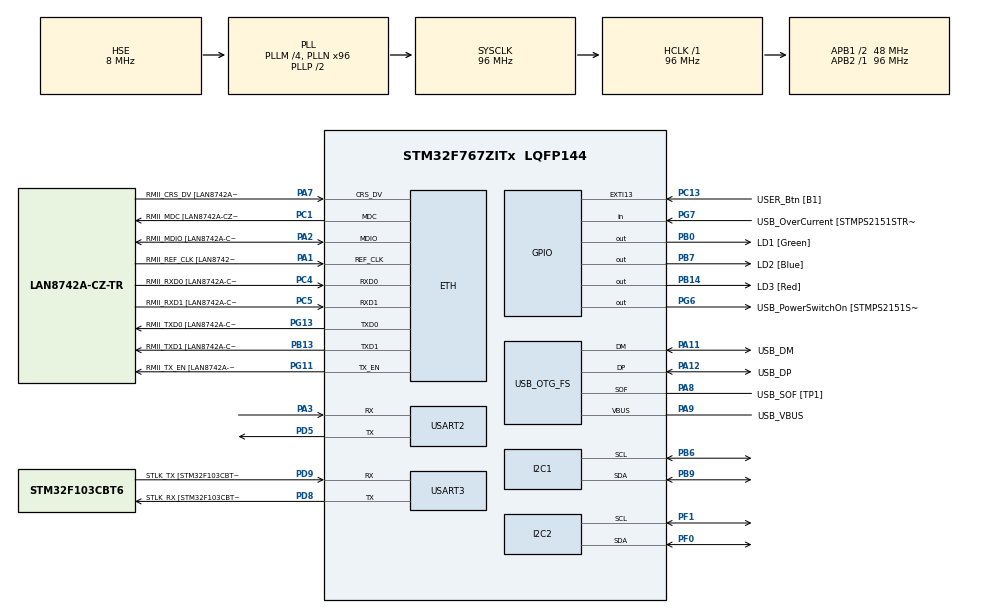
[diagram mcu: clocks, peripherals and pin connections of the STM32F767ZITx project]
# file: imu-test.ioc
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Dma.I2C2_RX.0.Direction=DMA_PERIPH_TO_MEMORY
Dma.I2C2_RX.0.FIFOMode=DMA_FIFOMODE_DISABLE
Dma.I2C2_RX.0.Instance=DMA1_Stream2
Dma.I2C2_RX.0.MemDataAlignment=DMA_MDATAALIGN_BYTE
Dma.I2C2_RX.0.MemInc=DMA_MINC_ENABLE
Dma.I2C2_RX.0.Mode=DMA_NORMAL
Dma.I2C2_RX.0.PeriphDataAlignment=DMA_PDATAALIGN_BYTE
Dma.I2C2_RX.0.PeriphInc=DMA_PINC_DISABLE
Dma.I2C2_RX.0.Priority=DMA_PRIORITY_LOW
Dma.I2C2_TX.1.Direction=DMA_MEMORY_TO_PERIPH
Dma.I2C2_TX.1.FIFOMode=DMA_FIFOMODE_DISABLE
Dma.I2C2_TX.1.Instance=DMA1_Stream4
Dma.I2C2_TX.1.MemDataAlignment=DMA_MDATAALIGN_BYTE
Dma.I2C2_TX.1.MemInc=DMA_MINC_ENABLE
Dma.I2C2_TX.1.Mode=DMA_NORMAL
Dma.I2C2_TX.1.PeriphDataAlignment=DMA_PDATAALIGN_BYTE
Dma.I2C2_TX.1.PeriphInc=DMA_PINC_DISABLE
Dma.I2C2_TX.1.Priority=DMA_PRIORITY_LOW
Dma.Request0=I2C2_RX
Dma.Request1=I2C2_TX
ETH.MediaInterface=HAL_ETH_RMII_MODE
ETH.PHY_Name=LAN8742A_PHY_ADDRESS
ETH.PHY_Value=0
ETH.PhyAddress=0
I2C1.Timing=0x20303E5D
I2C2.Timing=0x20303E5D
Mcu.Family=STM32F7
Mcu.Name=STM32F767ZITx
Mcu.Package=LQFP144
NVIC.DMA1_Stream2_IRQn=true\:0\:0\:false\:false\:true\:false\:true\:true
NVIC.DMA1_Stream4_IRQn=true\:0\:0\:false\:false\:true\:false\:true\:true
NVIC.PriorityGroup=NVIC_PRIORITYGROUP_4
PA1.GPIO_Label=RMII_REF_CLK [LAN8742A-CZ-TR_REFCLK0]
PA1.Mode=RMII
PA1.Signal=ETH_REF_CLK
PA10.GPIO_Label=USB_ID
PA10.Signal=USB_OTG_FS_ID
PA11.GPIO_Label=USB_DM
PA11.Mode=Device_Only
PA11.Signal=USB_OTG_FS_DM
PA12.GPIO_Label=USB_DP
PA12.Mode=Device_Only
PA12.Signal=USB_OTG_FS_DP
PA13.GPIO_Label=TMS
PA13.Mode=Serial_Wire
PA13.Signal=SYS_JTMS-SWDIO
PA14.GPIO_Label=TCK
PA14.Mode=Serial_Wire
PA14.Signal=SYS_JTCK-SWCLK
PA2.GPIO_Label=RMII_MDIO [LAN8742A-CZ-TR_MDIO]
PA2.Mode=RMII
PA2.Signal=ETH_MDIO
PA3.Mode=Asynchronous
PA3.Signal=USART2_RX
PA7.GPIO_Label=RMII_CRS_DV [LAN8742A-CZ-TR_CRS_DV]
PA7.Mode=RMII
PA7.Signal=ETH_CRS_DV
PA8.GPIO_Label=USB_SOF [TP1]
PA8.Mode=Activate_SOF_FS
PA8.Signal=USB_OTG_FS_SOF
PA9.GPIO_Label=USB_VBUS
PA9.Mode=Activate_VBUS
PA9.Signal=USB_OTG_FS_VBUS
PB0.GPIO_Label=LD1 [Green]
PB0.Signal=GPIO_Output
PB13.GPIO_Label=RMII_TXD1 [LAN8742A-CZ-TR_TXD1]
PB13.Mode=RMII
PB13.Signal=ETH_TXD1
PB14.GPIO_Label=LD3 [Red]
PB14.Signal=GPIO_Output
PB3.GPIO_Label=SWO
PB3.Signal=SYS_JTDO-SWO
PB6.GPIO_Pu=GPIO_PULLUP
PB6.Mode=I2C
PB6.Signal=I2C1_SCL
PB7.GPIO_Label=LD2 [Blue]
PB7.Signal=GPIO_Output
PB9.GPIO_Pu=GPIO_PULLUP
PB9.Mode=I2C
PB9.Signal=I2C1_SDA
PC1.GPIO_Label=RMII_MDC [LAN8742A-CZ-TR_MDC]
PC1.Mode=RMII
PC1.Signal=ETH_MDC
PC13.GPIO_Label=USER_Btn [B1]
PC13.Signal=GPXTI13
PC14/OSC32_IN.Mode=LSE-External-Oscillator
PC14/OSC32_IN.Signal=RCC_OSC32_IN
PC15/OSC32_OUT.Mode=LSE-External-Oscillator
PC15/OSC32_OUT.Signal=RCC_OSC32_OUT
PC4.GPIO_Label=RMII_RXD0 [LAN8742A-CZ-TR_RXD0]
PC4.Mode=RMII
PC4.Signal=ETH_RXD0
PC5.GPIO_Label=RMII_RXD1 [LAN8742A-CZ-TR_RXD1]
PC5.Mode=RMII
PC5.Signal=ETH_RXD1
PD5.Mode=Asynchronous
PD5.Signal=USART2_TX
PD8.GPIO_Label=STLK_RX [STM32F103CBT6_PA3]
PD8.Mode=Asynchronous
PD8.Signal=USART3_TX
PD9.GPIO_Label=STLK_TX [STM32F103CBT6_PA2]
PD9.Mode=Asynchronous
PD9.Signal=USART3_RX
PF0.Mode=I2C
PF0.Signal=I2C2_SDA
PF1.Mode=I2C
PF1.Signal=I2C2_SCL
PG11.GPIO_Label=RMII_TX_EN [LAN8742A-CZ-TR_TXEN]
PG11.Mode=RMII
PG11.Signal=ETH_TX_EN
PG13.GPIO_Label=RMII_TXD0 [LAN8742A-CZ-TR_TXD0]
PG13.Mode=RMII
PG13.Signal=ETH_TXD0
PG6.GPIO_Label=USB_PowerSwitchOn [STMPS2151STR_EN]
PG6.Signal=GPIO_Output
PG7.GPIO_Label=USB_OverCurrent [STMPS2151STR_FAULT]
PG7.Signal=GPIO_Input
PH0/OSC_IN.GPIO_Label=MCO [STM32F103CBT6_PA8]
PH0/OSC_IN.Mode=HSE-External-Clock-Source
PH0/OSC_IN.Signal=RCC_OSC_IN
PH1/OSC_OUT.Mode=HSE-External-Clock-Source
PH1/OSC_OUT.Signal=RCC_OSC_OUT
ProjectManager.HeapSize=0x200
ProjectManager.StackSize=0x400
ProjectManager.TargetToolchain=STM32CubeIDE
RCC.48MHZClocksFreq_Value=24000000
RCC.AHBFreq_Value=96000000
RCC.APB1CLKDivider=RCC_HCLK_DIV2
RCC.APB1Freq_Value=48000000
RCC.APB1TimFreq_Value=96000000
RCC.APB2Freq_Value=96000000
RCC.APB2TimFreq_Value=96000000
RCC.CortexFreq_Value=96000000
RCC.HCLKFreq_Value=96000000
RCC.HSE_VALUE=8000000
RCC.HSI_VALUE=16000000
RCC.PLLM=4
RCC.PLLMUL=RCC_PLL_MUL9
RCC.PLLN=96
RCC.PLLQ=4
RCC.PRESCALERUSB=RCC_USBCLKSOURCE_PLL_DIV1_5
RCC.SYSCLKFreq_VALUE=96000000
RCC.SYSCLKSource=RCC_SYSCLKSOURCE_PLLCLK
RCC.SYSCLKSourceVirtual=RCC_SYSCLKSOURCE_PLLCLK
RCC.USBFreq_Value=48000000
RCC.VCOOutputFreq_Value=192000000
USART2.VirtualMode-Asynchronous=VM_ASYNC
USART3.VirtualMode-Asynchronous=VM_ASYNC
USB_OTG_FS.VirtualMode=Device_Only
board=NUCLEO-F767ZI

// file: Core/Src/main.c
/* USER CODE BEGIN Header */
/**
  ******************************************************************************
  * @file           : main.c
  * @brief          : Main program body
  ******************************************************************************
  * @attention
  *
  * Copyright (c) 2025 STMicroelectronics.
  * All rights reserved.
  *
  * This software is licensed under terms that can be found in the LICENSE file
  * in the root directory of this software component.
  * If no LICENSE file comes with this software, it is provided AS-IS.
  *
  ******************************************************************************
  */
/* USER CODE END Header */
#include "main.h"
#include "string.h"

/* USER CODE BEGIN Includes */
#include "accel.h"
#include "i2c-lcd.h"
/* USER CODE END Includes */

#if defined ( __ICCARM__ ) /*!< IAR Compiler */
#pragma location=0x2007c000
ETH_DMADescTypeDef  DMARxDscrTab[ETH_RX_DESC_CNT]; /* Ethernet Rx DMA Descriptors */
#pragma location=0x2007c0a0
ETH_DMADescTypeDef  DMATxDscrTab[ETH_TX_DESC_CNT]; /* Ethernet Tx DMA Descriptors */

#elif defined ( __CC_ARM )  /* MDK ARM Compiler */

__attribute__((at(0x2007c000))) ETH_DMADescTypeDef  DMARxDscrTab[ETH_RX_DESC_CNT]; /* Ethernet Rx DMA Descriptors */
__attribute__((at(0x2007c0a0))) ETH_DMADescTypeDef  DMATxDscrTab[ETH_TX_DESC_CNT]; /* Ethernet Tx DMA Descriptors */

#elif defined ( __GNUC__ ) /* GNU Compiler */

ETH_DMADescTypeDef DMARxDscrTab[ETH_RX_DESC_CNT] __attribute__((section(".RxDecripSection"))); /* Ethernet Rx DMA Descriptors */
ETH_DMADescTypeDef DMATxDscrTab[ETH_TX_DESC_CNT] __attribute__((section(".TxDecripSection")));   /* Ethernet Tx DMA Descriptors */
#endif

ETH_TxPacketConfig TxConfig;

ETH_HandleTypeDef heth;

I2C_HandleTypeDef hi2c1;
I2C_HandleTypeDef hi2c2;
DMA_HandleTypeDef hdma_i2c2_rx;
DMA_HandleTypeDef hdma_i2c2_tx;

UART_HandleTypeDef huart2;
UART_HandleTypeDef huart3;

PCD_HandleTypeDef hpcd_USB_OTG_FS;

/* USER CODE BEGIN PV */
uint8_t		imu_readings[IMU_NUMBER_OF_BYTES];
int16_t 	accel_data[3];
float		acc_x, acc_y, acc_z;
float		acc_x_abs, acc_y_abs, acc_z_abs;
/* USER CODE END PV */

void SystemClock_Config(void);
static void MX_GPIO_Init(void);
static void MX_DMA_Init(void);
static void MX_ETH_Init(void);
static void MX_I2C2_Init(void);
static void MX_USART3_UART_Init(void);
static void MX_USB_OTG_FS_PCD_Init(void);
static void MX_USART2_UART_Init(void);
static void MX_I2C1_Init(void);

int main(void)
{

  /* MCU Configuration--------------------------------------------------------*/

  /* Reset of all peripherals, Initializes the Flash interface and the Systick. */
  HAL_Init();

  /* Configure the system clock */
  SystemClock_Config();

  /* Initialize all configured peripherals */
  MX_GPIO_Init();
  MX_DMA_Init();
  MX_ETH_Init();
  MX_I2C2_Init();
  MX_USART3_UART_Init();
  MX_USB_OTG_FS_PCD_Init();
  MX_USART2_UART_Init();
  MX_I2C1_Init();
  /* USER CODE BEGIN 2 */
  lcd_init();
  lcd_send_string("X=    Y=    Z=");
  BNO055_Init_I2C(&hi2c2);
  /* USER CODE END 2 */

  /* Infinite loop */
  while (1)
  {

    /* USER CODE BEGIN 3 */
	  HAL_Delay(300);
	  GetAccelData(&hi2c2, (uint8_t*)imu_readings);
	  accel_data[0] = (((int16_t)((uint8_t *)(imu_readings))[1] << 8) | ((uint8_t *)(imu_readings))[0]);      // Turn the MSB and LSB into a signed 16-bit value
	  accel_data[1] = (((int16_t)((uint8_t *)(imu_readings))[3] << 8) | ((uint8_t *)(imu_readings))[2]);
	  accel_data[2] = (((int16_t)((uint8_t *)(imu_readings))[5] << 8) | ((uint8_t *)(imu_readings))[4]);

	  // Get acceleration data in m/s2
	  acc_x = ((float)(accel_data[0]))/100.0f;
	  acc_y = ((float)(accel_data[1]))/100.0f;
	  acc_z = ((float)(accel_data[2]))/100.0f;

	  // Get acceleration magnitude (take absolute value)
	  acc_x_abs = (acc_x < 0) ? -acc_x : acc_x;
	  acc_y_abs = (acc_y < 0) ? -acc_y : acc_y;
	  acc_z_abs = (acc_z < 0) ? -acc_z : acc_z;

	  // Print acc_x
	  lcd_put_cur(1, 0);
	  lcd_send_string((acc_x < 0) ? "-" : "+");
	  lcd_send_data((int)(acc_x_abs) % 10 + 48); // Ones
	  lcd_send_string(".");
	  lcd_send_data(((int)(acc_x_abs * 10) % 10) + 48); // Tenths
	  lcd_send_data(((int)(acc_x_abs * 100) % 10) + 48); // Hundredths

	  // Print acc_y
	  lcd_put_cur(1, 6);
	  lcd_send_string((acc_y < 0) ? "-" : "+");
	  lcd_send_data((int)(acc_y_abs) % 10 + 48); // Ones
	  lcd_send_string(".");
	  lcd_send_data(((int)(acc_y_abs * 10) % 10) + 48); // Tenths
	  lcd_send_data(((int)(acc_y_abs * 100) % 10) + 48); // Hundredths

	  // Print acc_z
	  lcd_put_cur(1, 12);
	  lcd_send_string((acc_z < 0) ? "-" : "+");
	  lcd_send_data((int)(acc_z_abs) % 10 + 48); // Ones
	  lcd_send_string(".");
	  lcd_send_data(((int)(acc_z_abs * 10) % 10) + 48); // Tenths
	  lcd_send_data(((int)(acc_z_abs * 100) % 10) + 48); // Hundredths
  }
  /* USER CODE END 3 */
}

void SystemClock_Config(void)
{
  RCC_OscInitTypeDef RCC_OscInitStruct = {0};
  RCC_ClkInitTypeDef RCC_ClkInitStruct = {0};

  /** Configure LSE Drive Capability
  */
  HAL_PWR_EnableBkUpAccess();

  /** Configure the main internal regulator output voltage
  */
  __HAL_RCC_PWR_CLK_ENABLE();
  __HAL_PWR_VOLTAGESCALING_CONFIG(PWR_REGULATOR_VOLTAGE_SCALE3);

  /** Initializes the RCC Oscillators according to the specified parameters
  * in the RCC_OscInitTypeDef structure.
  */
  RCC_OscInitStruct.OscillatorType = RCC_OSCILLATORTYPE_HSE;
  RCC_OscInitStruct.HSEState = RCC_HSE_BYPASS;
  RCC_OscInitStruct.PLL.PLLState = RCC_PLL_ON;
  RCC_OscInitStruct.PLL.PLLSource = RCC_PLLSOURCE_HSE;
  RCC_OscInitStruct.PLL.PLLM = 4;
  RCC_OscInitStruct.PLL.PLLN = 96;
  RCC_OscInitStruct.PLL.PLLP = RCC_PLLP_DIV2;
  RCC_OscInitStruct.PLL.PLLQ = 4;
  RCC_OscInitStruct.PLL.PLLR = 2;
  if (HAL_RCC_OscConfig(&RCC_OscInitStruct) != HAL_OK)
  {
    Error_Handler();
  }

  /** Activate the Over-Drive mode
  */
  if (HAL_PWREx_EnableOverDrive() != HAL_OK)
  {
    Error_Handler();
  }

  /** Initializes the CPU, AHB and APB buses clocks
  */
  RCC_ClkInitStruct.ClockType = RCC_CLOCKTYPE_HCLK|RCC_CLOCKTYPE_SYSCLK
                              |RCC_CLOCKTYPE_PCLK1|RCC_CLOCKTYPE_PCLK2;
  RCC_ClkInitStruct.SYSCLKSource = RCC_SYSCLKSOURCE_PLLCLK;
  RCC_ClkInitStruct.AHBCLKDivider = RCC_SYSCLK_DIV1;
  RCC_ClkInitStruct.APB1CLKDivider = RCC_HCLK_DIV2;
  RCC_ClkInitStruct.APB2CLKDivider = RCC_HCLK_DIV1;

  if (HAL_RCC_ClockConfig(&RCC_ClkInitStruct, FLASH_LATENCY_3) != HAL_OK)
  {
    Error_Handler();
  }
}

static void MX_ETH_Init(void)
{

   static uint8_t MACAddr[6];

  heth.Instance = ETH;
  MACAddr[0] = 0x00;
  MACAddr[1] = 0x80;
  MACAddr[2] = 0xE1;
  MACAddr[3] = 0x00;
  MACAddr[4] = 0x00;
  MACAddr[5] = 0x00;
  heth.Init.MACAddr = &MACAddr[0];
  heth.Init.MediaInterface = HAL_ETH_RMII_MODE;
  heth.Init.TxDesc = DMATxDscrTab;
  heth.Init.RxDesc = DMARxDscrTab;
  heth.Init.RxBuffLen = 1524;

  if (HAL_ETH_Init(&heth) != HAL_OK)
  {
    Error_Handler();
  }

  memset(&TxConfig, 0 , sizeof(ETH_TxPacketConfig));
  TxConfig.Attributes = ETH_TX_PACKETS_FEATURES_CSUM | ETH_TX_PACKETS_FEATURES_CRCPAD;
  TxConfig.ChecksumCtrl = ETH_CHECKSUM_IPHDR_PAYLOAD_INSERT_PHDR_CALC;
  TxConfig.CRCPadCtrl = ETH_CRC_PAD_INSERT;

}

static void MX_I2C1_Init(void)
{

  hi2c1.Instance = I2C1;
  hi2c1.Init.Timing = 0x20303E5D;
  hi2c1.Init.OwnAddress1 = 0;
  hi2c1.Init.AddressingMode = I2C_ADDRESSINGMODE_7BIT;
  hi2c1.Init.DualAddressMode = I2C_DUALADDRESS_DISABLE;
  hi2c1.Init.OwnAddress2 = 0;
  hi2c1.Init.OwnAddress2Masks = I2C_OA2_NOMASK;
  hi2c1.Init.GeneralCallMode = I2C_GENERALCALL_DISABLE;
  hi2c1.Init.NoStretchMode = I2C_NOSTRETCH_DISABLE;
  if (HAL_I2C_Init(&hi2c1) != HAL_OK)
  {
    Error_Handler();
  }

  /** Configure Analogue filter
  */
  if (HAL_I2CEx_ConfigAnalogFilter(&hi2c1, I2C_ANALOGFILTER_ENABLE) != HAL_OK)
  {
    Error_Handler();
  }

  /** Configure Digital filter
  */
  if (HAL_I2CEx_ConfigDigitalFilter(&hi2c1, 0) != HAL_OK)
  {
    Error_Handler();
  }

}

static void MX_I2C2_Init(void)
{

  hi2c2.Instance = I2C2;
  hi2c2.Init.Timing = 0x20303E5D;
  hi2c2.Init.OwnAddress1 = 0;
  hi2c2.Init.AddressingMode = I2C_ADDRESSINGMODE_7BIT;
  hi2c2.Init.DualAddressMode = I2C_DUALADDRESS_DISABLE;
  hi2c2.Init.OwnAddress2 = 0;
  hi2c2.Init.OwnAddress2Masks = I2C_OA2_NOMASK;
  hi2c2.Init.GeneralCallMode = I2C_GENERALCALL_DISABLE;
  hi2c2.Init.NoStretchMode = I2C_NOSTRETCH_DISABLE;
  if (HAL_I2C_Init(&hi2c2) != HAL_OK)
  {
    Error_Handler();
  }

  /** Configure Analogue filter
  */
  if (HAL_I2CEx_ConfigAnalogFilter(&hi2c2, I2C_ANALOGFILTER_ENABLE) != HAL_OK)
  {
    Error_Handler();
  }

  /** Configure Digital filter
  */
  if (HAL_I2CEx_ConfigDigitalFilter(&hi2c2, 0) != HAL_OK)
  {
    Error_Handler();
  }

}

static void MX_USART2_UART_Init(void)
{

  huart2.Instance = USART2;
  huart2.Init.BaudRate = 115200;
  huart2.Init.WordLength = UART_WORDLENGTH_8B;
  huart2.Init.StopBits = UART_STOPBITS_1;
  huart2.Init.Parity = UART_PARITY_NONE;
  huart2.Init.Mode = UART_MODE_TX_RX;
  huart2.Init.HwFlowCtl = UART_HWCONTROL_NONE;
  huart2.Init.OverSampling = UART_OVERSAMPLING_16;
  huart2.Init.OneBitSampling = UART_ONE_BIT_SAMPLE_DISABLE;
  huart2.AdvancedInit.AdvFeatureInit = UART_ADVFEATURE_NO_INIT;
  if (HAL_UART_Init(&huart2) != HAL_OK)
  {
    Error_Handler();
  }

}

static void MX_USART3_UART_Init(void)
{

  huart3.Instance = USART3;
  huart3.Init.BaudRate = 115200;
  huart3.Init.WordLength = UART_WORDLENGTH_8B;
  huart3.Init.StopBits = UART_STOPBITS_1;
  huart3.Init.Parity = UART_PARITY_NONE;
  huart3.Init.Mode = UART_MODE_TX_RX;
  huart3.Init.HwFlowCtl = UART_HWCONTROL_NONE;
  huart3.Init.OverSampling = UART_OVERSAMPLING_16;
  huart3.Init.OneBitSampling = UART_ONE_BIT_SAMPLE_DISABLE;
  huart3.AdvancedInit.AdvFeatureInit = UART_ADVFEATURE_NO_INIT;
  if (HAL_UART_Init(&huart3) != HAL_OK)
  {
    Error_Handler();
  }

}

static void MX_USB_OTG_FS_PCD_Init(void)
{

  hpcd_USB_OTG_FS.Instance = USB_OTG_FS;
  hpcd_USB_OTG_FS.Init.dev_endpoints = 6;
  hpcd_USB_OTG_FS.Init.speed = PCD_SPEED_FULL;
  hpcd_USB_OTG_FS.Init.dma_enable = DISABLE;
  hpcd_USB_OTG_FS.Init.phy_itface = PCD_PHY_EMBEDDED;
  hpcd_USB_OTG_FS.Init.Sof_enable = ENABLE;
  hpcd_USB_OTG_FS.Init.low_power_enable = DISABLE;
  hpcd_USB_OTG_FS.Init.lpm_enable = DISABLE;
  hpcd_USB_OTG_FS.Init.vbus_sensing_enable = ENABLE;
  hpcd_USB_OTG_FS.Init.use_dedicated_ep1 = DISABLE;
  if (HAL_PCD_Init(&hpcd_USB_OTG_FS) != HAL_OK)
  {
    Error_Handler();
  }

}

static void MX_DMA_Init(void)
{

  /* DMA controller clock enable */
  __HAL_RCC_DMA1_CLK_ENABLE();

  /* DMA interrupt init */
  /* DMA1_Stream2_IRQn interrupt configuration */
  HAL_NVIC_SetPriority(DMA1_Stream2_IRQn, 0, 0);
  HAL_NVIC_EnableIRQ(DMA1_Stream2_IRQn);
  /* DMA1_Stream4_IRQn interrupt configuration */
  HAL_NVIC_SetPriority(DMA1_Stream4_IRQn, 0, 0);
  HAL_NVIC_EnableIRQ(DMA1_Stream4_IRQn);

}

static void MX_GPIO_Init(void)
{
  GPIO_InitTypeDef GPIO_InitStruct = {0};

  /* GPIO Ports Clock Enable */
  __HAL_RCC_GPIOC_CLK_ENABLE();
  __HAL_RCC_GPIOF_CLK_ENABLE();
  __HAL_RCC_GPIOH_CLK_ENABLE();
  __HAL_RCC_GPIOA_CLK_ENABLE();
  __HAL_RCC_GPIOB_CLK_ENABLE();
  __HAL_RCC_GPIOD_CLK_ENABLE();
  __HAL_RCC_GPIOG_CLK_ENABLE();

  /*Configure GPIO pin Output Level */
  HAL_GPIO_WritePin(GPIOB, LD1_Pin|LD3_Pin|LD2_Pin, GPIO_PIN_RESET);

  /*Configure GPIO pin Output Level */
  HAL_GPIO_WritePin(USB_PowerSwitchOn_GPIO_Port, USB_PowerSwitchOn_Pin, GPIO_PIN_RESET);

  /*Configure GPIO pin : USER_Btn_Pin */
  GPIO_InitStruct.Pin = USER_Btn_Pin;
  GPIO_InitStruct.Mode = GPIO_MODE_IT_RISING;
  GPIO_InitStruct.Pull = GPIO_NOPULL;
  HAL_GPIO_Init(USER_Btn_GPIO_Port, &GPIO_InitStruct);

  /*Configure GPIO pins : LD1_Pin LD3_Pin LD2_Pin */
  GPIO_InitStruct.Pin = LD1_Pin|LD3_Pin|LD2_Pin;
  GPIO_InitStruct.Mode = GPIO_MODE_OUTPUT_PP;
  GPIO_InitStruct.Pull = GPIO_NOPULL;
  GPIO_InitStruct.Speed = GPIO_SPEED_FREQ_LOW;
  HAL_GPIO_Init(GPIOB, &GPIO_InitStruct);

  /*Configure GPIO pin : USB_PowerSwitchOn_Pin */
  GPIO_InitStruct.Pin = USB_PowerSwitchOn_Pin;
  GPIO_InitStruct.Mode = GPIO_MODE_OUTPUT_PP;
  GPIO_InitStruct.Pull = GPIO_NOPULL;
  GPIO_InitStruct.Speed = GPIO_SPEED_FREQ_LOW;
  HAL_GPIO_Init(USB_PowerSwitchOn_GPIO_Port, &GPIO_InitStruct);

  /*Configure GPIO pin : USB_OverCurrent_Pin */
  GPIO_InitStruct.Pin = USB_OverCurrent_Pin;
  GPIO_InitStruct.Mode = GPIO_MODE_INPUT;
  GPIO_InitStruct.Pull = GPIO_NOPULL;
  HAL_GPIO_Init(USB_OverCurrent_GPIO_Port, &GPIO_InitStruct);

}

void Error_Handler(void)
{
  __disable_irq();
  while (1)
  {
  }
}
